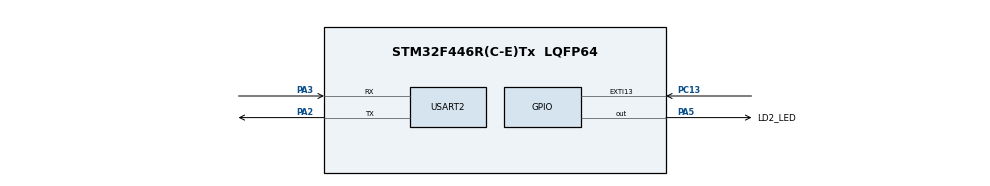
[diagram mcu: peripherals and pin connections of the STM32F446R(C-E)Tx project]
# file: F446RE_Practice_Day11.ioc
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FREERTOS.Tasks01=defaultTask,24,128,StartDefaultTask,Default,NULL,Dynamic,NULL,NULL;HighTask,32,512,StartHighTask,Default,NULL,Dynamic,NULL,NULL;MediumTask,24,512,StartMediumTask,Default,NULL,Dynamic,NULL,NULL;LowTask,16,512,StartLowTask,Default,NULL,Dynamic,NULL,NULL
FREERTOS.configUSE_NEWLIB_REENTRANT=1
Mcu.Family=STM32F4
Mcu.Name=STM32F446R(C-E)Tx
Mcu.Package=LQFP64
NVIC.EXTI15_10_IRQn=true\:5\:0\:false\:false\:true\:true\:true\:true\:true
NVIC.PriorityGroup=NVIC_PRIORITYGROUP_4
NVIC.TIM6_DAC_IRQn=true\:15\:0\:false\:false\:true\:false\:false\:true\:true
NVIC.TimeBase=TIM6_DAC_IRQn
NVIC.TimeBaseIP=TIM6
PA13.Mode=Serial_Wire
PA13.Signal=SYS_JTMS-SWDIO
PA14.Mode=Serial_Wire
PA14.Signal=SYS_JTCK-SWCLK
PA2.Mode=Asynchronous
PA2.Signal=USART2_TX
PA3.Mode=Asynchronous
PA3.Signal=USART2_RX
PA5.GPIO_Label=LD2_LED
PA5.Signal=GPIO_Output
PC13.GPIO_ModeDefaultEXTI=GPIO_MODE_IT_FALLING
PC13.Signal=GPXTI13
ProjectManager.HeapSize=0x200
ProjectManager.StackSize=0x400
ProjectManager.TargetToolchain=STM32CubeIDE
RCC.CortexFreq_Value=16000000
RCC.USBFreq_Value=96000000
RCC.VCOOutputFreq_Value=192000000
USART2.VirtualMode=VM_ASYNC
VP_FREERTOS_VS_CMSIS_V2.Mode=CMSIS_V2
VP_SYS_VS_tim6.Mode=TIM6
board=custom

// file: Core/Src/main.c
/* USER CODE BEGIN Header */
/**
  ******************************************************************************
  * @file           : main.c
  * @brief          : Main program body
  ******************************************************************************
  * @attention
  *
  * Copyright (c) 2026 STMicroelectronics.
  * All rights reserved.
  *
  * This software is licensed under terms that can be found in the LICENSE file
  * in the root directory of this software component.
  * If no LICENSE file comes with this software, it is provided AS-IS.
  *
  ******************************************************************************
  */
/* USER CODE END Header */
#include "main.h"
#include "cmsis_os.h"

/* USER CODE BEGIN Includes */

#include <stdio.h>

/* USER CODE END Includes */

/* USER CODE BEGIN PD */

/*
 * 0：使用 Binary Semaphore，沒有 Priority Inheritance
 * 1：使用 Mutex，啟用 Priority Inheritance
 */
#define USE_PRIORITY_INHERITANCE 0

#define BUTTON_EVENT_FLAG       (1UL << 0)
#define LOW_WORK_ITERATIONS     20000UL
#define MEDIUM_WORK_ITERATIONS  5000UL

/* USER CODE END PD */

UART_HandleTypeDef huart2;

volatile uint32_t event_set_result = 0U;

/* Definitions for defaultTask */
osThreadId_t defaultTaskHandle;
const osThreadAttr_t defaultTask_attributes = {
  .name = "defaultTask",
  .stack_size = 128 * 4,
  .priority = (osPriority_t) osPriorityNormal,
};
/* Definitions for HighTask */
osThreadId_t HighTaskHandle;
const osThreadAttr_t HighTask_attributes = {
  .name = "HighTask",
  .stack_size = 512 * 4,
  .priority = (osPriority_t) osPriorityAboveNormal,
};
/* Definitions for MediumTask */
osThreadId_t MediumTaskHandle;
const osThreadAttr_t MediumTask_attributes = {
  .name = "MediumTask",
  .stack_size = 512 * 4,
  .priority = (osPriority_t) osPriorityNormal,
};
/* Definitions for LowTask */
osThreadId_t LowTaskHandle;
const osThreadAttr_t LowTask_attributes = {
  .name = "LowTask",
  .stack_size = 512 * 4,
  .priority = (osPriority_t) osPriorityBelowNormal,
};
/* USER CODE BEGIN PV */

osMutexId_t resourceMutexHandle;
osSemaphoreId_t resourceSemaphoreHandle;

volatile uint8_t low_holding_resource = 0U;

volatile uint32_t high_wait_ticks = 0U;
volatile uint32_t high_request_count = 0U;
volatile uint32_t work_sink = 0U;

/* USER CODE END PV */

void SystemClock_Config(void);
static void MX_GPIO_Init(void);
static void MX_USART2_UART_Init(void);
void StartDefaultTask(void *argument);
void StartHighTask(void *argument);
void StartMediumTask(void *argument);
void StartLowTask(void *argument);

/* USER CODE BEGIN PFP */

static osStatus_t ResourceLock(void);
static osStatus_t ResourceUnlock(void);

/* USER CODE END PFP */

/* USER CODE BEGIN 0 */

static osStatus_t ResourceLock(void)
{
#if USE_PRIORITY_INHERITANCE

    return osMutexAcquire(
        resourceMutexHandle,
        osWaitForever);

#else

    return osSemaphoreAcquire(
        resourceSemaphoreHandle,
        osWaitForever);

#endif
}

static osStatus_t ResourceUnlock(void)
{
#if USE_PRIORITY_INHERITANCE

    return osMutexRelease(
        resourceMutexHandle);

#else

    return osSemaphoreRelease(
        resourceSemaphoreHandle);

#endif
}

/* USER CODE END 0 */

int main(void)
{

  /* MCU Configuration--------------------------------------------------------*/

  /* Reset of all peripherals, Initializes the Flash interface and the Systick. */
  HAL_Init();

  /* Configure the system clock */
  SystemClock_Config();

  /* Initialize all configured peripherals */
  MX_GPIO_Init();
  MX_USART2_UART_Init();
  /* USER CODE BEGIN 2 */

  const char boot_message[] = "\r\n=== RTOS test boot ===\r\n";

  HAL_UART_Transmit(
      &huart2,
      (uint8_t *)boot_message,
      sizeof(boot_message) - 1U,
      HAL_MAX_DELAY);

  /* USER CODE END 2 */

  /* Init scheduler */
  osKernelInitialize();

  /* USER CODE BEGIN RTOS_MUTEX */
  /* add mutexes, ... */

  const osMutexAttr_t resourceMutexAttributes =
  {
      .name = "resourceMutex",
      .attr_bits = osMutexPrioInherit,
      .cb_mem = NULL,
      .cb_size = 0U
  };

  resourceMutexHandle =
      osMutexNew(&resourceMutexAttributes);

  resourceSemaphoreHandle =
      osSemaphoreNew(
          1U,     /* 最大數量 */
          1U,     /* 初始數量 */
          NULL);

  if ((resourceMutexHandle == NULL) ||
      (resourceSemaphoreHandle == NULL))
  {
      Error_Handler();
  }

  /* USER CODE END RTOS_MUTEX */

  /* Create the thread(s) */
  /* creation of defaultTask */
  defaultTaskHandle = osThreadNew(StartDefaultTask, NULL, &defaultTask_attributes);

  /* creation of HighTask */
  HighTaskHandle = osThreadNew(StartHighTask, NULL, &HighTask_attributes);

  /* creation of MediumTask */
  MediumTaskHandle = osThreadNew(StartMediumTask, NULL, &MediumTask_attributes);

  /* creation of LowTask */
  LowTaskHandle = osThreadNew(StartLowTask, NULL, &LowTask_attributes);

  /* Start scheduler */
  osKernelStart();

  /* We should never get here as control is now taken by the scheduler */

  /* Infinite loop */
  while (1)
  {

  }
}

void SystemClock_Config(void)
{
  RCC_OscInitTypeDef RCC_OscInitStruct = {0};
  RCC_ClkInitTypeDef RCC_ClkInitStruct = {0};

  /** Configure the main internal regulator output voltage
  */
  __HAL_RCC_PWR_CLK_ENABLE();
  __HAL_PWR_VOLTAGESCALING_CONFIG(PWR_REGULATOR_VOLTAGE_SCALE3);

  /** Initializes the RCC Oscillators according to the specified parameters
  * in the RCC_OscInitTypeDef structure.
  */
  RCC_OscInitStruct.OscillatorType = RCC_OSCILLATORTYPE_HSI;
  RCC_OscInitStruct.HSIState = RCC_HSI_ON;
  RCC_OscInitStruct.HSICalibrationValue = RCC_HSICALIBRATION_DEFAULT;
  RCC_OscInitStruct.PLL.PLLState = RCC_PLL_NONE;
  if (HAL_RCC_OscConfig(&RCC_OscInitStruct) != HAL_OK)
  {
    Error_Handler();
  }

  /** Initializes the CPU, AHB and APB buses clocks
  */
  RCC_ClkInitStruct.ClockType = RCC_CLOCKTYPE_HCLK|RCC_CLOCKTYPE_SYSCLK
                              |RCC_CLOCKTYPE_PCLK1|RCC_CLOCKTYPE_PCLK2;
  RCC_ClkInitStruct.SYSCLKSource = RCC_SYSCLKSOURCE_HSI;
  RCC_ClkInitStruct.AHBCLKDivider = RCC_SYSCLK_DIV1;
  RCC_ClkInitStruct.APB1CLKDivider = RCC_HCLK_DIV1;
  RCC_ClkInitStruct.APB2CLKDivider = RCC_HCLK_DIV1;

  if (HAL_RCC_ClockConfig(&RCC_ClkInitStruct, FLASH_LATENCY_0) != HAL_OK)
  {
    Error_Handler();
  }
}

static void MX_USART2_UART_Init(void)
{

  huart2.Instance = USART2;
  huart2.Init.BaudRate = 115200;
  huart2.Init.WordLength = UART_WORDLENGTH_8B;
  huart2.Init.StopBits = UART_STOPBITS_1;
  huart2.Init.Parity = UART_PARITY_NONE;
  huart2.Init.Mode = UART_MODE_TX_RX;
  huart2.Init.HwFlowCtl = UART_HWCONTROL_NONE;
  huart2.Init.OverSampling = UART_OVERSAMPLING_16;
  if (HAL_UART_Init(&huart2) != HAL_OK)
  {
    Error_Handler();
  }

}

static void MX_GPIO_Init(void)
{
  GPIO_InitTypeDef GPIO_InitStruct = {0};

  /* GPIO Ports Clock Enable */
  __HAL_RCC_GPIOC_CLK_ENABLE();
  __HAL_RCC_GPIOA_CLK_ENABLE();

  /*Configure GPIO pin Output Level */
  HAL_GPIO_WritePin(LD2_LED_GPIO_Port, LD2_LED_Pin, GPIO_PIN_RESET);

  /*Configure GPIO pin : PC13 */
  GPIO_InitStruct.Pin = GPIO_PIN_13;
  GPIO_InitStruct.Mode = GPIO_MODE_IT_FALLING;
  GPIO_InitStruct.Pull = GPIO_NOPULL;
  HAL_GPIO_Init(GPIOC, &GPIO_InitStruct);

  /*Configure GPIO pin : LD2_LED_Pin */
  GPIO_InitStruct.Pin = LD2_LED_Pin;
  GPIO_InitStruct.Mode = GPIO_MODE_OUTPUT_PP;
  GPIO_InitStruct.Pull = GPIO_NOPULL;
  GPIO_InitStruct.Speed = GPIO_SPEED_FREQ_LOW;
  HAL_GPIO_Init(LD2_LED_GPIO_Port, &GPIO_InitStruct);

  /* EXTI interrupt init*/
  HAL_NVIC_SetPriority(EXTI15_10_IRQn, 5, 0);
  HAL_NVIC_EnableIRQ(EXTI15_10_IRQn);

}

/* USER CODE BEGIN 4 */

volatile uint32_t button_isr_count = 0U;
volatile uint32_t thread_flag_result = 0U;

void HAL_GPIO_EXTI_Callback(uint16_t GPIO_Pin)
{
    if (GPIO_Pin == GPIO_PIN_13)
    {
        button_isr_count++;

        if ((HighTaskHandle != NULL) &&
            (osKernelGetState() == osKernelRunning))
        {
            thread_flag_result =
                osThreadFlagsSet(
                    HighTaskHandle,
                    BUTTON_EVENT_FLAG);
        }
    }
}

/* USER CODE END 4 */

void StartDefaultTask(void *argument)
{
  for(;;)
  {
    osDelay(1);
  }
}

void StartHighTask(void *argument)
{
  /* USER CODE BEGIN StartHighTask */
  /* Infinite loop */
	 (void)argument;

	  char message[96];

	  for (;;)
	  {
		  uint32_t flags = osThreadFlagsWait(
		      BUTTON_EVENT_FLAG,
		      osFlagsWaitAny,
		      osWaitForever);

	    if ((flags & osFlagsError) != 0U)
	    {
	      continue;
	    }

	    uint32_t start_tick =
	        osKernelGetTickCount();

	    if (ResourceLock() == osOK)
	    {
	      uint32_t end_tick =
	          osKernelGetTickCount();

	      high_wait_ticks =
	          end_tick - start_tick;

	      high_request_count++;

	      (void)ResourceUnlock();

	      uint32_t tick_frequency =
	          osKernelGetTickFreq();

	      uint32_t wait_ms = 0U;

	      if (tick_frequency != 0U)
	      {
	        wait_ms =
	            (high_wait_ticks * 1000U) /
	            tick_frequency;
	      }

	      int length = snprintf(
	          message,
	          sizeof(message),
	          "HighTask request=%lu, wait=%lu ms, mode=%s\r\n",
	          (unsigned long)high_request_count,
	          (unsigned long)wait_ms,
	#if USE_PRIORITY_INHERITANCE
	          "Mutex+Inheritance"
	#else
	          "Binary Semaphore"
	#endif
	      );

	      if (length > 0)
	      {
	        uint16_t transmit_length;

	        if ((size_t)length < sizeof(message))
	        {
	          transmit_length = (uint16_t)length;
	        }
	        else
	        {
	          transmit_length =
	              (uint16_t)(sizeof(message) - 1U);
	        }

	        (void)HAL_UART_Transmit(
	            &huart2,
	            (uint8_t *)message,
	            transmit_length,
	            100U);
	      }

	      /*
	       * 快閃三次代表 HighTask 已取得資源。
	       */
	      for (uint32_t i = 0U; i < 3U; i++)
	      {
	        HAL_GPIO_WritePin(
	            LD2_LED_GPIO_Port,
	            LD2_LED_Pin,
	            GPIO_PIN_SET);

	        osDelay(50U);

	        HAL_GPIO_WritePin(
	            LD2_LED_GPIO_Port,
	            LD2_LED_Pin,
	            GPIO_PIN_RESET);

	        osDelay(50U);
	      }
	    }
	  }
  /* USER CODE END StartHighTask */
}

void StartMediumTask(void *argument)
{
  /* USER CODE BEGIN StartMediumTask */
  /* Infinite loop */
	  (void)argument;

	  for (;;)
	  {
	    if (low_holding_resource != 0U)
	    {
	      for (uint32_t i = 0U;
	           i < MEDIUM_WORK_ITERATIONS;
	           i++)
	      {
	        work_sink += i;
	      }

	      /*
	       * 短暫讓出 CPU，避免完全餓死 LowTask。
	       */
	      osDelay(1U);
	    }
	    else
	    {
	      osDelay(1U);
	    }
	  }

  /* USER CODE END StartMediumTask */
}

void StartLowTask(void *argument)
{
  /* USER CODE BEGIN StartLowTask */
  /* Infinite loop */
	  (void)argument;

	  for (;;)
	  {
	    if (ResourceLock() == osOK)
	    {
	      low_holding_resource = 1U;

	      HAL_GPIO_WritePin(
	          LD2_LED_GPIO_Port,
	          LD2_LED_Pin,
	          GPIO_PIN_SET);

	      /*
	       * 模擬 LowTask 持有共用資源，
	       * 並進行需要 CPU 時間的工作。
	       */
	      for (uint32_t i = 0U;
	           i < LOW_WORK_ITERATIONS;
	           i++)
	      {
	        work_sink =
	            (work_sink * 1664525UL) +
	            1013904223UL;
	      }

	      low_holding_resource = 0U;

	      HAL_GPIO_WritePin(
	          LD2_LED_GPIO_Port,
	          LD2_LED_Pin,
	          GPIO_PIN_RESET);

	      (void)ResourceUnlock();
	    }

	    osDelay(1500U);
	  }

  /* USER CODE END StartLowTask */
}

void HAL_TIM_PeriodElapsedCallback(TIM_HandleTypeDef *htim)
{
  if (htim->Instance == TIM6)
  {
    HAL_IncTick();
  }
}

void Error_Handler(void)
{
  __disable_irq();
  while (1)
  {
  }
}
